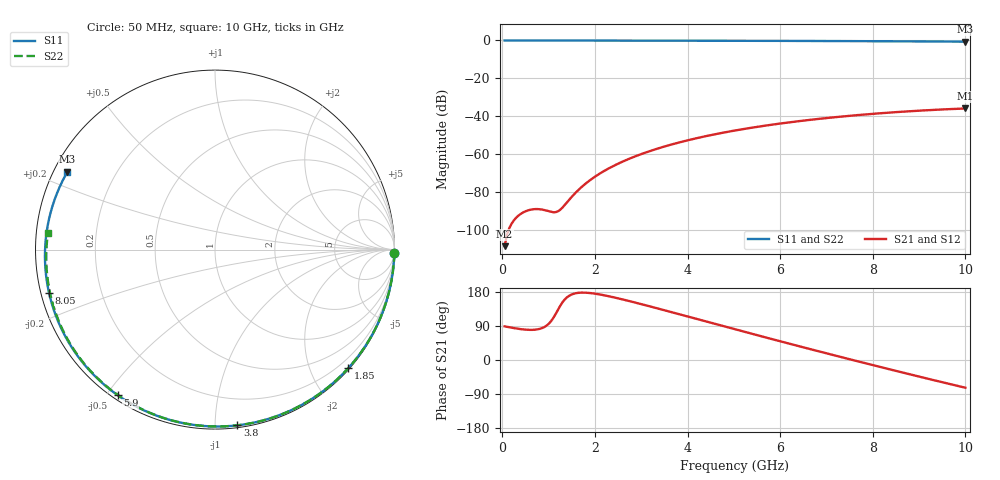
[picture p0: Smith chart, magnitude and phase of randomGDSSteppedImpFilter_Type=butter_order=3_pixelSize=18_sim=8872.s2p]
! freq	dB(S11)	phase(S11)	dB(S12)	phase(S12)
!  dB(S21)	phase(S21)	dB(S22)	phase(S22)
!S-par simulation data
#  GHz  S  DB  R 50
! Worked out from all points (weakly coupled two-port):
!   200 points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, 50 MHz to 10 GHz, reference 50 ohm
!   highest |S21| = -35.80 dB at 10 GHz (marker M1); lowest = -108.2 dB at 50 MHz (marker M2)
!   lowest |S11| = -0.6 dB at 10 GHz (marker M3), VSWR 27.43, Z = 1.93 + j12.3 ohm
!   |S11| at or under -10 dB: nowhere
!   |S22| runs from -0.6 to 0.0 dB; largest |S21 - S12| = 0
!   S11 on the Smith chart (normalised r, x): 50 MHz: open; 1.85 GHz: 0.02, -2.63; 3.8 GHz: 0.01, -1.13; 5.9 GHz: 0.02, -0.53; 8.05 GHz: 0.02, -0.13; 10 GHz: 0.04, +0.25
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0.05  -0.00 -1.1  -108.25 88.8  -108.25 88.8  -0.00 -1.1
0.8  -0.02 -18.3  -88.80 81.9  -88.80 81.9  -0.02 -17.4
1.55  -0.04 -35.1  -80.96 175.1  -80.96 175.1  -0.04 -33.4
1.6  -0.05 -36.2  -79.70 176.5  -79.70 176.5  -0.04 -34.4
1.75  -0.05 -39.5  -76.32 177.8  -76.32 177.8  -0.05 -37.6
1.85  -0.05 -41.7  -74.34 177.2  -74.34 177.2  -0.05 -39.7
2.15  -0.06 -48.2  -69.39 171.9  -69.39 171.9  -0.06 -45.9
2.5  -0.07 -55.8  -64.86 162.7  -64.86 162.7  -0.07 -53.0
2.9  -0.08 -64.2  -60.71 150.6  -60.71 150.6  -0.08 -61.0
3.4  -0.10 -74.6  -56.55 134.6  -56.55 134.6  -0.09 -70.8
3.8  -0.11 -82.8  -53.79 121.5  -53.79 121.5  -0.11 -78.4
4.4  -0.14 -94.8  -50.34 101.7  -50.34 101.7  -0.13 -89.6
5.05  -0.17 -107.5  -47.28 80.3  -47.28 80.3  -0.16 -101.3
5.9  -0.21 -123.8  -44.06 52.7  -44.06 52.7  -0.20 -116.1
6.7  -0.27 -139.1  -41.63 27.1  -41.63 27.1  -0.25 -129.7
7.4  -0.33 -152.6  -39.88 5.1  -39.88 5.1  -0.30 -141.4
8.05  -0.40 -165.4  -38.52 -15.0  -38.52 -15.0  -0.36 -152.3
8.35  -0.43 -171.5  -37.97 -24.1  -37.97 -24.1  -0.39 -157.3
8.8  -0.48 179.1  -37.24 -37.8  -37.24 -37.8  -0.44 -164.9
9.2  -0.53 170.5  -36.68 -49.8  -36.68 -49.8  -0.49 -171.8
9.6  -0.58 161.5  -36.20 -61.6  -36.20 -61.6  -0.54 -178.7
10  -0.63 152.2  -35.80 -73.2  -35.80 -73.2  -0.59 174.2
